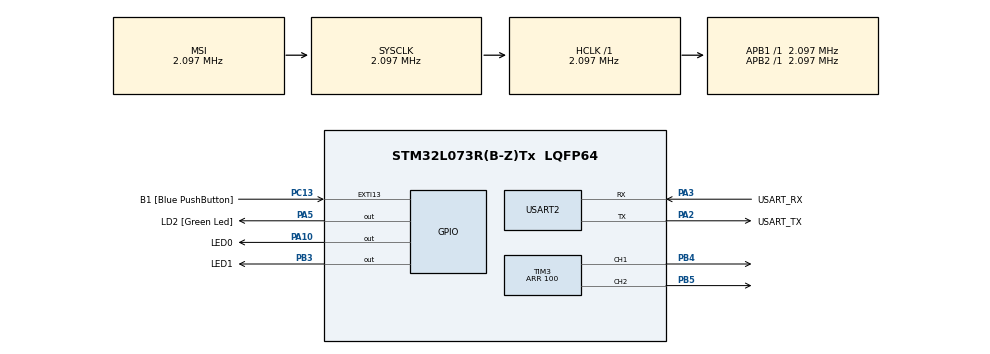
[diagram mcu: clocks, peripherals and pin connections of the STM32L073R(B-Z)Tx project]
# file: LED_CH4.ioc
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Mcu.Family=STM32L0
Mcu.Name=STM32L073R(B-Z)Tx
Mcu.Package=LQFP64
PA10.GPIO_Label=LED0
PA10.Signal=GPIO_Output
PA13.GPIO_Label=TMS
PA13.Mode=Serial_Wire
PA13.Signal=SYS_SWDIO
PA14.GPIO_Label=TCK
PA14.Mode=Serial_Wire
PA14.Signal=SYS_SWCLK
PA2.GPIO_Label=USART_TX
PA2.Mode=Asynchronous
PA2.Signal=USART2_TX
PA3.GPIO_Label=USART_RX
PA3.Mode=Asynchronous
PA3.Signal=USART2_RX
PA5.GPIO_Label=LD2 [Green Led]
PA5.Signal=GPIO_Output
PB3.GPIO_Label=LED1
PB3.Signal=GPIO_Output
PB4.Signal=S_TIM3_CH1
PB5.Signal=S_TIM3_CH2
PC13.GPIO_Label=B1 [Blue PushButton]
PC13.GPIO_ModeDefaultEXTI=GPIO_MODE_IT_FALLING
PC13.Signal=GPXTI13
PC14-OSC32_IN.Mode=LSE-External-Oscillator
PC14-OSC32_IN.Signal=RCC_OSC32_IN
PC15-OSC32_OUT.Mode=LSE-External-Oscillator
PC15-OSC32_OUT.Signal=RCC_OSC32_OUT
PH0-OSC_IN.GPIO_Label=MCO
PH0-OSC_IN.Mode=HSE-External-Clock-Source
PH0-OSC_IN.Signal=RCC_OSC_IN
ProjectManager.HeapSize=0x200
ProjectManager.StackSize=0x400
ProjectManager.TargetToolchain=STM32CubeIDE
RCC.AHBFreq_Value=2097000
RCC.APB1Freq_Value=2097000
RCC.APB1TimFreq_Value=2097000
RCC.APB2Freq_Value=2097000
RCC.APB2TimFreq_Value=2097000
RCC.HSE_VALUE=8000000
RCC.HSI16_VALUE=16000000
RCC.HSI48_VALUE=48000000
RCC.HSI_VALUE=16000000
RCC.MSI_VALUE=2097000
RCC.SYSCLKFreq_VALUE=2097000
RCC.VCOOutputFreq_Value=48000000
SH.S_TIM3_CH1.0=TIM3_CH1,PWM Generation1 CH1
SH.S_TIM3_CH2.0=TIM3_CH2,PWM Generation2 CH2
TIM3.Channel-PWM\ Generation1\ CH1=TIM_CHANNEL_1
TIM3.Channel-PWM\ Generation2\ CH2=TIM_CHANNEL_2
TIM3.Period=100
USART2.VirtualMode-Asynchronous=VM_ASYNC
board=NUCLEO-L073RZ

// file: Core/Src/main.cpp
/* USER CODE BEGIN Header */
/**
  ******************************************************************************
  * @file           : main.c
  * @brief          : Main program body
  ******************************************************************************
  * @attention
  *
  * <h2><center>&copy; Copyright (c) 2020 STMicroelectronics.
  * All rights reserved.</center></h2>
  *
  * This software component is licensed by ST under BSD 3-Clause license,
  * the "License"; You may not use this file except in compliance with the
  * License. You may obtain a copy of the License at:
  *                        opensource.org/licenses/BSD-3-Clause
  *
  ******************************************************************************
  */
/* USER CODE END Header */
#include "main.h"
#include "tim.h"
#include "usart.h"
#include "gpio.h"

/* USER CODE BEGIN Includes */

#include "../../Src_Mio/mcal.h"
#include "../../Src_Mio/led_port.h"
#include "../../Src_Mio/pwm.h"
#include "../../Src_Mio/led_pwm.h"

/* USER CODE END Includes */

void SystemClock_Config(void);

/* USER CODE BEGIN 0 */

void led_toggler(led_base& led){
	led.toggle();
}

namespace{
led_port led_a5 { mcal::reg::porta_odr, mcal::reg::bval5 };
led_port led0 { mcal::reg::porta_odr, mcal::reg::bval10 };
led_port led1 { mcal::reg::portb_odr, mcal::reg::bval3 };

pwm pwm0 { &htim3, TIM_CHANNEL_2 };
pwm pwm1 { &htim3, TIM_CHANNEL_1 };

led_pwm led2 { &pwm0 };
led_pwm led3 { &pwm1 };
}

/* USER CODE END 0 */

int main(void)
{

  /* MCU Configuration--------------------------------------------------------*/

  /* Reset of all peripherals, Initializes the Flash interface and the Systick. */
  HAL_Init();

  /* Configure the system clock */
  SystemClock_Config();

  /* Initialize all configured peripherals */
  MX_GPIO_Init();
  MX_USART2_UART_Init();
  MX_TIM3_Init();
  /* USER CODE BEGIN 2 */

  led2.start();
  led3.start();

  /* USER CODE END 2 */

  /* Infinite loop */
  while (1)
  {

	  for(int i = 0;i < 25; i++){
		led_a5.toggle();
		led0.toggle();
		HAL_Delay(50);
		led1.toggle();
		HAL_Delay(50);
		led2.toggle();
		HAL_Delay(50);
		led3.toggle();
		HAL_Delay(50);
	  }

	  for(int j = 0;j < 5;j++){
		  for(int i = 0;i <= 100;i++){
			led_a5.toggle();
			led0.toggle();
			led1.toggle();
			led2.dimming(i);
			led3.dimming(100-i);
			HAL_Delay(5);
		  }
		  for(int i = 0;i <= 100;i++){
			led_a5.toggle();
			led0.toggle();
			led1.toggle();
			led2.dimming(100-i);
			led3.dimming(i);
			HAL_Delay(5);
		  }
	  }

	  for(int i = 0;i < 25; i++){
		led_toggler(led_a5);
		led_toggler(led0);
		HAL_Delay(50);
		led_toggler(led1);
		HAL_Delay(50);
		led_toggler(led2);
		HAL_Delay(50);
		led_toggler(led3);
		HAL_Delay(50);
	  }

  }
}

void SystemClock_Config(void)
{
  RCC_OscInitTypeDef RCC_OscInitStruct = {0};
  RCC_ClkInitTypeDef RCC_ClkInitStruct = {0};
  RCC_PeriphCLKInitTypeDef PeriphClkInit = {0};

  /** Configure the main internal regulator output voltage
  */
  __HAL_PWR_VOLTAGESCALING_CONFIG(PWR_REGULATOR_VOLTAGE_SCALE1);
  /** Initializes the RCC Oscillators according to the specified parameters
  * in the RCC_OscInitTypeDef structure.
  */
  RCC_OscInitStruct.OscillatorType = RCC_OSCILLATORTYPE_MSI;
  RCC_OscInitStruct.MSIState = RCC_MSI_ON;
  RCC_OscInitStruct.MSICalibrationValue = 0;
  RCC_OscInitStruct.MSIClockRange = RCC_MSIRANGE_5;
  RCC_OscInitStruct.PLL.PLLState = RCC_PLL_NONE;
  if (HAL_RCC_OscConfig(&RCC_OscInitStruct) != HAL_OK)
  {
    Error_Handler();
  }
  /** Initializes the CPU, AHB and APB buses clocks
  */
  RCC_ClkInitStruct.ClockType = RCC_CLOCKTYPE_HCLK|RCC_CLOCKTYPE_SYSCLK
                              |RCC_CLOCKTYPE_PCLK1|RCC_CLOCKTYPE_PCLK2;
  RCC_ClkInitStruct.SYSCLKSource = RCC_SYSCLKSOURCE_MSI;
  RCC_ClkInitStruct.AHBCLKDivider = RCC_SYSCLK_DIV1;
  RCC_ClkInitStruct.APB1CLKDivider = RCC_HCLK_DIV1;
  RCC_ClkInitStruct.APB2CLKDivider = RCC_HCLK_DIV1;

  if (HAL_RCC_ClockConfig(&RCC_ClkInitStruct, FLASH_LATENCY_0) != HAL_OK)
  {
    Error_Handler();
  }
  PeriphClkInit.PeriphClockSelection = RCC_PERIPHCLK_USART2;
  PeriphClkInit.Usart2ClockSelection = RCC_USART2CLKSOURCE_PCLK1;
  if (HAL_RCCEx_PeriphCLKConfig(&PeriphClkInit) != HAL_OK)
  {
    Error_Handler();
  }
}

void Error_Handler(void)
{
  __disable_irq();
  while (1)
  {
  }
}

/************************ (C) COPYRIGHT STMicroelectronics *****END OF FILE****/
